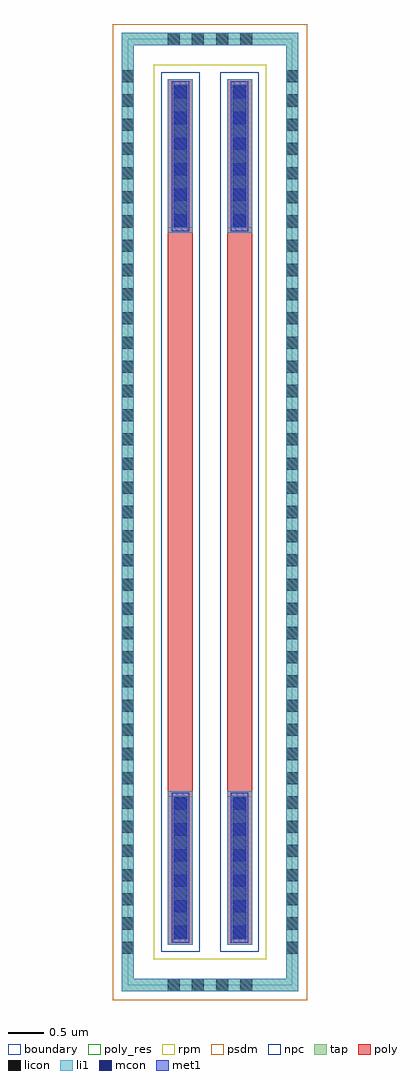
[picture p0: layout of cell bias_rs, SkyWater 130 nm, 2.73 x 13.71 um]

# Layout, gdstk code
import gdstk
lib = gdstk.Library(unit=1e-6, precision=1e-09)
def R(c, l, rs):  # rectangles x0, y0, x1, y1
    for r in rs: c.add(gdstk.rectangle(r[:2], r[2:], *l))
def A(c, l, x, y, w, h, nx, ny, dx, dy):  # array of equal rectangles
    R(c, l, [(x+i*dx, y+j*dy, x+i*dx+w, y+j*dy+h) for i in range(nx) for j in range(ny)])
tap = (65, 44)
poly_res = (66, 13)
poly = (66, 20)
licon = (66, 44)
li1 = (67, 20)
mcon = (67, 44)
met1 = (68, 20)
rpm = (86, 20)
psdm = (94, 20)
npc = (95, 20)
boundary = (235, 4)

bias_rs = lib.new_cell('bias_rs')
R(bias_rs, tap, [(-1.24,-6.73,1.24,-6.56), (-1.24,-6.56,-1.07,6.56), (1.07,-6.56,1.24,6.56), (-1.24,6.56,1.24,6.73)])
R(bias_rs, poly_res, [(-0.59,-4,-0.24,4), (0.24,-4,0.59,4)])
R(bias_rs, poly, [(-0.59,-6.08,-0.24,6.08), (0.24,-6.08,0.59,6.08)])
A(bias_rs, licon, -0.595, -6.73, 0.17, 0.17, 4, 2, 0.34, 13.29)
A(bias_rs, licon, -1.24, -6.205, 0.17, 0.17, 1, 37, 0, 0.34)
A(bias_rs, licon, 1.07, -6.205, 0.17, 0.17, 1, 37, 0, 0.34)
R(bias_rs, licon, [(-0.51,-6,-0.32,-4), (0.32,-6,0.51,-4), (-0.51,4,-0.32,6), (0.32,4,0.51,6)])
R(bias_rs, li1, [(-1.24,-6.73,1.24,-6.56), (-1.24,-6.56,-1.07,6.56), (1.07,-6.56,1.24,6.56), (-0.59,-6.08,-0.24,-3.92), (0.24,-6.08,0.59,-3.92), (-0.59,3.92,-0.24,6.08), (0.24,3.92,0.59,6.08), (-1.24,6.56,1.24,6.73)])
A(bias_rs, mcon, -0.5, -5.985, 0.17, 0.17, 1, 6, 0, 0.36)
A(bias_rs, mcon, 0.33, -5.985, 0.17, 0.17, 1, 6, 0, 0.36)
A(bias_rs, mcon, -0.5, 4.01, 0.17, 0.17, 1, 6, 0, 0.36)
A(bias_rs, mcon, 0.33, 4.01, 0.17, 0.17, 1, 6, 0, 0.36)
R(bias_rs, met1, [(-0.54,-6.05,-0.29,-3.945), (0.29,-6.05,0.54,-3.945), (-0.54,3.945,-0.29,6.05), (0.29,3.945,0.54,6.05)])
R(bias_rs, rpm, [(-0.79,-6.28,0.79,6.28)])
R(bias_rs, psdm, [(-1.365,-6.855,1.365,6.855)])
R(bias_rs, npc, [(-0.685,-6.175,-0.145,6.175), (0.145,-6.175,0.685,6.175)])
R(bias_rs, boundary, [(-1.155,-6.645,1.155,6.645)])

lib.write_gds('bias_rs.gds')
